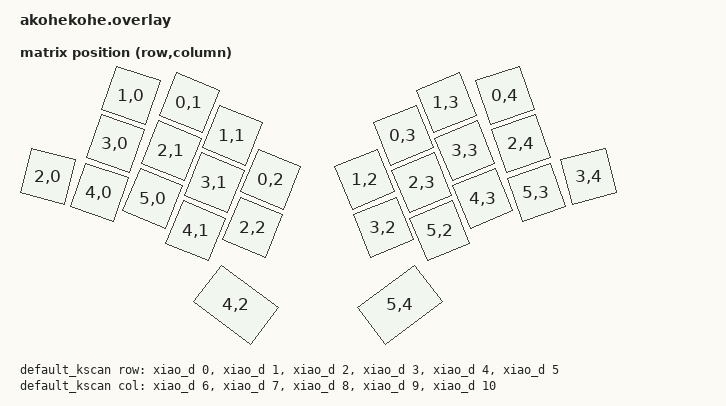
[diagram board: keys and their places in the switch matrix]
/*
 * Copyright (c) 2022 The ZMK Contributors
 *
 * SPDX-License-Identifier: MIT
 */

#include <dt-bindings/zmk/matrix_transform.h>
#include <physical_layouts.dtsi>

/ {
    default_transform: keymap_transform_0 {
        compatible = "zmk,matrix-transform";
        columns = <7>;
        rows = <6>;
        map = <
                    RC(1,0) RC(0,1) RC(1,1) RC(0,2)   RC(1,2) RC(0,3) RC(1,3) RC(0,4)
            RC(2,0) RC(3,0) RC(2,1) RC(3,1) RC(2,2)   RC(3,2) RC(2,3) RC(3,3) RC(2,4) RC(3,4)
                    RC(4,0) RC(5,0) RC(4,1)                   RC(5,2) RC(4,3) RC(5,3)
                                            RC(4,2)   RC(5,4)
        >;
    };

    default_kscan: kscan_0 {
        compatible = "zmk,kscan-gpio-matrix";
        diode-direction = "row2col";
        wakeup-source;

        col-gpios
            = <&xiao_d 6 (GPIO_ACTIVE_HIGH | GPIO_PULL_DOWN)>
            , <&xiao_d 7 (GPIO_ACTIVE_HIGH | GPIO_PULL_DOWN)>
            , <&xiao_d 8 (GPIO_ACTIVE_HIGH | GPIO_PULL_DOWN)>
            , <&xiao_d 9 (GPIO_ACTIVE_HIGH | GPIO_PULL_DOWN)>
            , <&xiao_d 10 (GPIO_ACTIVE_HIGH | GPIO_PULL_DOWN)>
            ;

        row-gpios
            = <&xiao_d 0 GPIO_ACTIVE_HIGH>
            , <&xiao_d 1 GPIO_ACTIVE_HIGH>
            , <&xiao_d 2 GPIO_ACTIVE_HIGH>
            , <&xiao_d 3 GPIO_ACTIVE_HIGH>
            , <&xiao_d 4 GPIO_ACTIVE_HIGH>
            , <&xiao_d 5 GPIO_ACTIVE_HIGH>
            ;
    };

    default_layout: layout_0 {
        compatible = "zmk,physical-layout";
        display-name = "Default Layout";

        transform = <&default_transform>;
        kscan = <&default_kscan>;

        keys  //                     w   h    x    y     rot    rx    ry
            = <&key_physical_attrs 100 100  166    0    1900   216    50>
            , <&key_physical_attrs 100 100  283   15    2200   333    65>
            , <&key_physical_attrs 100 100  369   80    2200   419   130>
            , <&key_physical_attrs 100 100  446  168    2200   496   218>
            , <&key_physical_attrs 100 100  634  168 (-2200)   684   218>
            , <&key_physical_attrs 100 100  711   80 (-2200)   761   130>
            , <&key_physical_attrs 100 100  797   15 (-2200)   847    65>
            , <&key_physical_attrs 100 100  914    0 (-1900)   964    50>
            , <&key_physical_attrs 100 100    0  162    1400    50   212>
            , <&key_physical_attrs 100 100  135   97    1900   185   147>
            , <&key_physical_attrs 100 100  247  111    2200   297   161>
            , <&key_physical_attrs 100 100  333  175    2200   383   225>
            , <&key_physical_attrs 100 100  410  264    2200   460   314>
            , <&key_physical_attrs 100 100  671  264 (-2200)   721   314>
            , <&key_physical_attrs 100 100  748  175 (-2200)   798   225>
            , <&key_physical_attrs 100 100  834  111 (-2200)   884   161>
            , <&key_physical_attrs 100 100  946   97 (-1900)   996   147>
            , <&key_physical_attrs 100 100 1082  162 (-1400)  1132   212>
            , <&key_physical_attrs 100 100  103  194    1900   153   244>
            , <&key_physical_attrs 100 100  210  206    2200   260   256>
            , <&key_physical_attrs 100 100  296  271    2200   346   321>
            , <&key_physical_attrs 100 100  784  271 (-2200)   834   321>
            , <&key_physical_attrs 100 100  870  206 (-2200)   920   256>
            , <&key_physical_attrs 100 100  977  194 (-1900)  1028   244>
            , <&key_physical_attrs 150 100  356  404    3700   406   454>
            , <&key_physical_attrs 150 100  674  404 (-3700)   774   454>
            ;
    };
};

&xiao_spi { status = "disabled"; };
&xiao_serial { status = "disabled"; };
